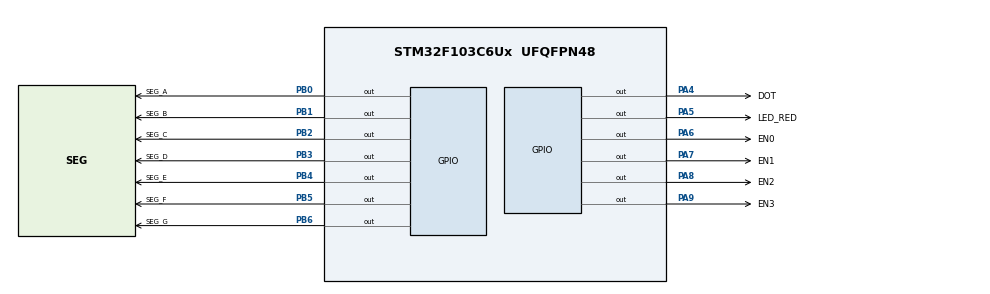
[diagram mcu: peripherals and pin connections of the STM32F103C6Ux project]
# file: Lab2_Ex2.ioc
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Mcu.Family=STM32F1
Mcu.Name=STM32F103C6Ux
Mcu.Package=UFQFPN48
NVIC.PriorityGroup=NVIC_PRIORITYGROUP_4
NVIC.TIM2_IRQn=true\:0\:0\:false\:false\:true\:true\:true
PA4.GPIO_Label=DOT
PA4.Signal=GPIO_Output
PA5.GPIO_Label=LED_RED
PA5.Signal=GPIO_Output
PA6.GPIO_Label=EN0
PA6.Signal=GPIO_Output
PA7.GPIO_Label=EN1
PA7.Signal=GPIO_Output
PA8.GPIO_Label=EN2
PA8.Signal=GPIO_Output
PA9.GPIO_Label=EN3
PA9.Signal=GPIO_Output
PB0.GPIO_Label=SEG_A
PB0.Signal=GPIO_Output
PB1.GPIO_Label=SEG_B
PB1.Signal=GPIO_Output
PB2.GPIO_Label=SEG_C
PB2.Signal=GPIO_Output
PB3.GPIO_Label=SEG_D
PB3.Signal=GPIO_Output
PB4.GPIO_Label=SEG_E
PB4.Signal=GPIO_Output
PB5.GPIO_Label=SEG_F
PB5.Signal=GPIO_Output
PB6.GPIO_Label=SEG_G
PB6.Signal=GPIO_Output
ProjectManager.HeapSize=0x200
ProjectManager.StackSize=0x400
ProjectManager.TargetToolchain=STM32CubeIDE
RCC.APB1Freq_Value=8000000
RCC.APB2Freq_Value=8000000
TIM2.Period=9
TIM2.Prescaler=7999
VP_SYS_VS_ND.Mode=No_Debug
VP_TIM2_VS_ClockSourceINT.Mode=Internal
board=custom

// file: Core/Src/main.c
/* USER CODE BEGIN Header */
/**
  ******************************************************************************
  * @file           : main.c
  * @brief          : Main program body
  ******************************************************************************
  * @attention
  *
  * <h2><center>&copy; Copyright (c) 2022 STMicroelectronics.
  * All rights reserved.</center></h2>
  *
  * This software component is licensed by ST under BSD 3-Clause license,
  * the "License"; You may not use this file except in compliance with the
  * License. You may obtain a copy of the License at:
  *                        opensource.org/licenses/BSD-3-Clause
  *
  ******************************************************************************
  */
/* USER CODE END Header */
#include "main.h"

TIM_HandleTypeDef htim2;

void SystemClock_Config(void);
static void MX_GPIO_Init(void);
static void MX_TIM2_Init(void);

/* USER CODE BEGIN 0 */
void display7SEG(int num) {
  if (num == 0) {
    HAL_GPIO_WritePin(SEG_A_GPIO_Port, SEG_A_Pin, 0);
    HAL_GPIO_WritePin(SEG_B_GPIO_Port, SEG_B_Pin, 0);
    HAL_GPIO_WritePin(SEG_C_GPIO_Port, SEG_C_Pin, 0);
    HAL_GPIO_WritePin(SEG_D_GPIO_Port, SEG_D_Pin, 0);
    HAL_GPIO_WritePin(SEG_E_GPIO_Port, SEG_E_Pin, 0);
    HAL_GPIO_WritePin(SEG_F_GPIO_Port, SEG_F_Pin, 0);
    HAL_GPIO_WritePin(SEG_G_GPIO_Port, SEG_G_Pin, 1);
  }
  else if (num == 1) {
    HAL_GPIO_WritePin(SEG_A_GPIO_Port, SEG_A_Pin, 1);
    HAL_GPIO_WritePin(SEG_B_GPIO_Port, SEG_B_Pin, 0);
    HAL_GPIO_WritePin(SEG_C_GPIO_Port, SEG_C_Pin, 0);
    HAL_GPIO_WritePin(SEG_D_GPIO_Port, SEG_D_Pin, 1);
    HAL_GPIO_WritePin(SEG_E_GPIO_Port, SEG_E_Pin, 1);
    HAL_GPIO_WritePin(SEG_F_GPIO_Port, SEG_F_Pin, 1);
    HAL_GPIO_WritePin(SEG_G_GPIO_Port, SEG_G_Pin, 1);
  }
  else if (num == 2) {
    HAL_GPIO_WritePin(SEG_A_GPIO_Port, SEG_A_Pin, 0);
    HAL_GPIO_WritePin(SEG_B_GPIO_Port, SEG_B_Pin, 0);
    HAL_GPIO_WritePin(SEG_C_GPIO_Port, SEG_C_Pin, 1);
    HAL_GPIO_WritePin(SEG_D_GPIO_Port, SEG_D_Pin, 0);
    HAL_GPIO_WritePin(SEG_E_GPIO_Port, SEG_E_Pin, 0);
    HAL_GPIO_WritePin(SEG_F_GPIO_Port, SEG_F_Pin, 1);
    HAL_GPIO_WritePin(SEG_G_GPIO_Port, SEG_G_Pin, 0);
  }
  else if (num == 3) {
    HAL_GPIO_WritePin(SEG_A_GPIO_Port, SEG_A_Pin, 0);
    HAL_GPIO_WritePin(SEG_B_GPIO_Port, SEG_B_Pin, 0);
    HAL_GPIO_WritePin(SEG_C_GPIO_Port, SEG_C_Pin, 0);
    HAL_GPIO_WritePin(SEG_D_GPIO_Port, SEG_D_Pin, 0);
    HAL_GPIO_WritePin(SEG_E_GPIO_Port, SEG_E_Pin, 1);
    HAL_GPIO_WritePin(SEG_F_GPIO_Port, SEG_F_Pin, 1);
    HAL_GPIO_WritePin(SEG_G_GPIO_Port, SEG_G_Pin, 0);
  }
  else if (num == 4) {
    HAL_GPIO_WritePin(SEG_A_GPIO_Port, SEG_A_Pin, 1);
    HAL_GPIO_WritePin(SEG_B_GPIO_Port, SEG_B_Pin, 0);
    HAL_GPIO_WritePin(SEG_C_GPIO_Port, SEG_C_Pin, 0);
    HAL_GPIO_WritePin(SEG_D_GPIO_Port, SEG_D_Pin, 1);
    HAL_GPIO_WritePin(SEG_E_GPIO_Port, SEG_E_Pin, 1);
    HAL_GPIO_WritePin(SEG_F_GPIO_Port, SEG_F_Pin, 0);
    HAL_GPIO_WritePin(SEG_G_GPIO_Port, SEG_G_Pin, 0);
  }
  else if (num == 5) {
    HAL_GPIO_WritePin(SEG_A_GPIO_Port, SEG_A_Pin, 0);
    HAL_GPIO_WritePin(SEG_B_GPIO_Port, SEG_B_Pin, 1);
    HAL_GPIO_WritePin(SEG_C_GPIO_Port, SEG_C_Pin, 0);
    HAL_GPIO_WritePin(SEG_D_GPIO_Port, SEG_D_Pin, 0);
    HAL_GPIO_WritePin(SEG_E_GPIO_Port, SEG_E_Pin, 1);
    HAL_GPIO_WritePin(SEG_F_GPIO_Port, SEG_F_Pin, 0);
    HAL_GPIO_WritePin(SEG_G_GPIO_Port, SEG_G_Pin, 0);
  }
  else if (num == 6) {
    HAL_GPIO_WritePin(SEG_A_GPIO_Port, SEG_A_Pin, 0);
    HAL_GPIO_WritePin(SEG_B_GPIO_Port, SEG_B_Pin, 1);
    HAL_GPIO_WritePin(SEG_C_GPIO_Port, SEG_C_Pin, 0);
    HAL_GPIO_WritePin(SEG_D_GPIO_Port, SEG_D_Pin, 0);
    HAL_GPIO_WritePin(SEG_E_GPIO_Port, SEG_E_Pin, 0);
    HAL_GPIO_WritePin(SEG_F_GPIO_Port, SEG_F_Pin, 0);
    HAL_GPIO_WritePin(SEG_G_GPIO_Port, SEG_G_Pin, 0);
  }
  else if (num == 7) {
    HAL_GPIO_WritePin(SEG_A_GPIO_Port, SEG_A_Pin, 0);
    HAL_GPIO_WritePin(SEG_B_GPIO_Port, SEG_B_Pin, 0);
    HAL_GPIO_WritePin(SEG_C_GPIO_Port, SEG_C_Pin, 0);
    HAL_GPIO_WritePin(SEG_D_GPIO_Port, SEG_D_Pin, 1);
    HAL_GPIO_WritePin(SEG_E_GPIO_Port, SEG_E_Pin, 1);
    HAL_GPIO_WritePin(SEG_F_GPIO_Port, SEG_F_Pin, 1);
    HAL_GPIO_WritePin(SEG_G_GPIO_Port, SEG_G_Pin, 1);
  }
  else if (num == 8) {
    HAL_GPIO_WritePin(SEG_A_GPIO_Port, SEG_A_Pin, 0);
    HAL_GPIO_WritePin(SEG_B_GPIO_Port, SEG_B_Pin, 0);
    HAL_GPIO_WritePin(SEG_C_GPIO_Port, SEG_C_Pin, 0);
    HAL_GPIO_WritePin(SEG_D_GPIO_Port, SEG_D_Pin, 0);
    HAL_GPIO_WritePin(SEG_E_GPIO_Port, SEG_E_Pin, 0);
    HAL_GPIO_WritePin(SEG_F_GPIO_Port, SEG_F_Pin, 0);
    HAL_GPIO_WritePin(SEG_G_GPIO_Port, SEG_G_Pin, 0);
  }
  else if (num == 9) {
    HAL_GPIO_WritePin(SEG_A_GPIO_Port, SEG_A_Pin, 0);
    HAL_GPIO_WritePin(SEG_B_GPIO_Port, SEG_B_Pin, 0);
    HAL_GPIO_WritePin(SEG_C_GPIO_Port, SEG_C_Pin, 0);
    HAL_GPIO_WritePin(SEG_D_GPIO_Port, SEG_D_Pin, 0);
    HAL_GPIO_WritePin(SEG_E_GPIO_Port, SEG_E_Pin, 1);
    HAL_GPIO_WritePin(SEG_F_GPIO_Port, SEG_F_Pin, 0);
    HAL_GPIO_WritePin(SEG_G_GPIO_Port, SEG_G_Pin, 0);
  }
  else {
    HAL_GPIO_WritePin(SEG_A_GPIO_Port, SEG_A_Pin, 1);
    HAL_GPIO_WritePin(SEG_B_GPIO_Port, SEG_B_Pin, 1);
    HAL_GPIO_WritePin(SEG_C_GPIO_Port, SEG_C_Pin, 1);
    HAL_GPIO_WritePin(SEG_D_GPIO_Port, SEG_D_Pin, 1);
    HAL_GPIO_WritePin(SEG_E_GPIO_Port, SEG_E_Pin, 1);
    HAL_GPIO_WritePin(SEG_F_GPIO_Port, SEG_F_Pin, 1);
    HAL_GPIO_WritePin(SEG_G_GPIO_Port, SEG_G_Pin, 1);
  }
}
/* USER CODE END 0 */

int main(void)
{

  /* MCU Configuration--------------------------------------------------------*/

  /* Reset of all peripherals, Initializes the Flash interface and the Systick. */
  HAL_Init();

  /* Configure the system clock */
  SystemClock_Config();

  /* Initialize all configured peripherals */
  MX_GPIO_Init();
  MX_TIM2_Init();
  /* USER CODE BEGIN 2 */
  HAL_TIM_Base_Start_IT(&htim2);
  /* USER CODE END 2 */

  /* Infinite loop */
  while (1)
  {

  }
}

void SystemClock_Config(void)
{
  RCC_OscInitTypeDef RCC_OscInitStruct = {0};
  RCC_ClkInitTypeDef RCC_ClkInitStruct = {0};

  /** Initializes the RCC Oscillators according to the specified parameters
  * in the RCC_OscInitTypeDef structure.
  */
  RCC_OscInitStruct.OscillatorType = RCC_OSCILLATORTYPE_HSI;
  RCC_OscInitStruct.HSIState = RCC_HSI_ON;
  RCC_OscInitStruct.HSICalibrationValue = RCC_HSICALIBRATION_DEFAULT;
  RCC_OscInitStruct.PLL.PLLState = RCC_PLL_NONE;
  if (HAL_RCC_OscConfig(&RCC_OscInitStruct) != HAL_OK)
  {
    Error_Handler();
  }
  /** Initializes the CPU, AHB and APB buses clocks
  */
  RCC_ClkInitStruct.ClockType = RCC_CLOCKTYPE_HCLK|RCC_CLOCKTYPE_SYSCLK
                              |RCC_CLOCKTYPE_PCLK1|RCC_CLOCKTYPE_PCLK2;
  RCC_ClkInitStruct.SYSCLKSource = RCC_SYSCLKSOURCE_HSI;
  RCC_ClkInitStruct.AHBCLKDivider = RCC_SYSCLK_DIV1;
  RCC_ClkInitStruct.APB1CLKDivider = RCC_HCLK_DIV1;
  RCC_ClkInitStruct.APB2CLKDivider = RCC_HCLK_DIV1;

  if (HAL_RCC_ClockConfig(&RCC_ClkInitStruct, FLASH_LATENCY_0) != HAL_OK)
  {
    Error_Handler();
  }
}

static void MX_TIM2_Init(void)
{

  TIM_ClockConfigTypeDef sClockSourceConfig = {0};
  TIM_MasterConfigTypeDef sMasterConfig = {0};

  htim2.Instance = TIM2;
  htim2.Init.Prescaler = 7999;
  htim2.Init.CounterMode = TIM_COUNTERMODE_UP;
  htim2.Init.Period = 9;
  htim2.Init.ClockDivision = TIM_CLOCKDIVISION_DIV1;
  htim2.Init.AutoReloadPreload = TIM_AUTORELOAD_PRELOAD_DISABLE;
  if (HAL_TIM_Base_Init(&htim2) != HAL_OK)
  {
    Error_Handler();
  }
  sClockSourceConfig.ClockSource = TIM_CLOCKSOURCE_INTERNAL;
  if (HAL_TIM_ConfigClockSource(&htim2, &sClockSourceConfig) != HAL_OK)
  {
    Error_Handler();
  }
  sMasterConfig.MasterOutputTrigger = TIM_TRGO_RESET;
  sMasterConfig.MasterSlaveMode = TIM_MASTERSLAVEMODE_DISABLE;
  if (HAL_TIMEx_MasterConfigSynchronization(&htim2, &sMasterConfig) != HAL_OK)
  {
    Error_Handler();
  }

}

static void MX_GPIO_Init(void)
{
  GPIO_InitTypeDef GPIO_InitStruct = {0};

  /* GPIO Ports Clock Enable */
  __HAL_RCC_GPIOA_CLK_ENABLE();
  __HAL_RCC_GPIOB_CLK_ENABLE();

  /*Configure GPIO pin Output Level */
  HAL_GPIO_WritePin(GPIOA, DOT_Pin|LED_RED_Pin|EN0_Pin|EN1_Pin
                          |EN2_Pin|EN3_Pin, GPIO_PIN_RESET);

  /*Configure GPIO pin Output Level */
  HAL_GPIO_WritePin(GPIOB, SEG_A_Pin|SEG_B_Pin|SEG_C_Pin|SEG_D_Pin
                          |SEG_E_Pin|SEG_F_Pin|SEG_G_Pin, GPIO_PIN_RESET);

  /*Configure GPIO pins : DOT_Pin LED_RED_Pin EN0_Pin EN1_Pin
                           EN2_Pin EN3_Pin */
  GPIO_InitStruct.Pin = DOT_Pin|LED_RED_Pin|EN0_Pin|EN1_Pin
                          |EN2_Pin|EN3_Pin;
  GPIO_InitStruct.Mode = GPIO_MODE_OUTPUT_PP;
  GPIO_InitStruct.Pull = GPIO_NOPULL;
  GPIO_InitStruct.Speed = GPIO_SPEED_FREQ_LOW;
  HAL_GPIO_Init(GPIOA, &GPIO_InitStruct);

  /*Configure GPIO pins : SEG_A_Pin SEG_B_Pin SEG_C_Pin SEG_D_Pin
                           SEG_E_Pin SEG_F_Pin SEG_G_Pin */
  GPIO_InitStruct.Pin = SEG_A_Pin|SEG_B_Pin|SEG_C_Pin|SEG_D_Pin
                          |SEG_E_Pin|SEG_F_Pin|SEG_G_Pin;
  GPIO_InitStruct.Mode = GPIO_MODE_OUTPUT_PP;
  GPIO_InitStruct.Pull = GPIO_NOPULL;
  GPIO_InitStruct.Speed = GPIO_SPEED_FREQ_LOW;
  HAL_GPIO_Init(GPIOB, &GPIO_InitStruct);

}

/* USER CODE BEGIN 4 */
int counter = 200;
void HAL_TIM_PeriodElapsedCallback(TIM_HandleTypeDef *htim) {
  if (150 < counter && counter <= 200) {
    HAL_GPIO_WritePin(EN0_GPIO_Port, EN0_Pin, 0);
    HAL_GPIO_WritePin(EN1_GPIO_Port, EN1_Pin, 1);
    HAL_GPIO_WritePin(EN2_GPIO_Port, EN2_Pin, 1);
    HAL_GPIO_WritePin(EN3_GPIO_Port, EN3_Pin, 1);

    HAL_GPIO_WritePin(DOT_GPIO_Port, DOT_Pin, 0);

    display7SEG(1);
  }

  else if (100 < counter && counter <= 150) {
    HAL_GPIO_WritePin(EN0_GPIO_Port, EN0_Pin, 1);
    HAL_GPIO_WritePin(EN1_GPIO_Port, EN1_Pin, 0);
    HAL_GPIO_WritePin(EN2_GPIO_Port, EN2_Pin, 1);
    HAL_GPIO_WritePin(EN3_GPIO_Port, EN3_Pin, 1);

    display7SEG(2);
  }

  else if (50 < counter && counter <= 100) {
    HAL_GPIO_WritePin(EN0_GPIO_Port, EN0_Pin, 1);
    HAL_GPIO_WritePin(EN1_GPIO_Port, EN1_Pin, 1);
    HAL_GPIO_WritePin(EN2_GPIO_Port, EN2_Pin, 0);
    HAL_GPIO_WritePin(EN3_GPIO_Port, EN3_Pin, 1);

    HAL_GPIO_WritePin(DOT_GPIO_Port, DOT_Pin, 1);

    display7SEG(3);
  }

  else if (0 < counter && counter <= 50) {
    HAL_GPIO_WritePin(EN0_GPIO_Port, EN0_Pin, 1);
    HAL_GPIO_WritePin(EN1_GPIO_Port, EN1_Pin, 1);
    HAL_GPIO_WritePin(EN2_GPIO_Port, EN2_Pin, 1);
    HAL_GPIO_WritePin(EN3_GPIO_Port, EN3_Pin, 0);

    display7SEG(0);
  }

  counter--;
  if (counter == 0) counter = 200;
}
/* USER CODE END 4 */

void Error_Handler(void)
{
  __disable_irq();
  while (1)
  {
  }
}

/************************ (C) COPYRIGHT STMicroelectronics *****END OF FILE****/
